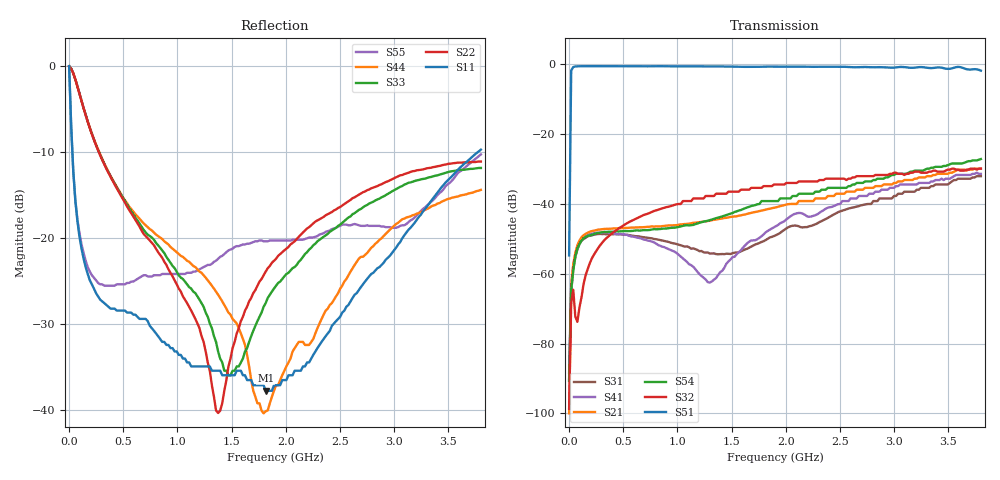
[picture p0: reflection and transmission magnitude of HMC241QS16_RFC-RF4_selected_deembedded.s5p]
!Hittite Microwave Corporation
!12 Elizabeth Drive
!Chelmsford, MA 01824
!Tel: 978-250-3343
!Fax: 978-250-3373
!Device: HMC241QS16, DC-3.5 GHz GaAs MMIC SP4T Non-Reflective Switch in 16 lead QSOP package
!Misc: Port 1 = RFC, Port 2 = RF1, Port 3 = RF2. Port 4 = RF3, Port 5 = RF 4, RF4 Selected, Bias: +5VDC, DEEMBEDDED TO THE PINS OF THE DEVICE
# MHZ S MA R 50
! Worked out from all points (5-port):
!   200 points, 10 kHz to 3.8 GHz, reference 50 ohm
!   strongest paths, dB at 10 kHz, 954.8 MHz, 1.91 GHz, 2.864 GHz, 3.8 GHz:
!     S51: -54.8, -0.6, -0.7, -0.8, -1.8
!     S32: -98.7, -40.4, -34.4, -31.7, -29.9
!     S54: -90.7, -46.8, -39.2, -32.8, -27.1
!     S21: -99.9, -46.1, -41.0, -34.9, -29.9
!     S41: -88.4, -53.4, -46.4, -36.5, -31.4
!     S31: -90.2, -51.2, -48.9, -38.4, -32.0
!   lowest |S11| = -37.7 dB at 1.814 GHz (marker M1), VSWR 1.03, Z = 49.1 - j0.959 ohm
!   |S11| at or under -10 dB: 30.2 MHz to 3.771 GHz (3.74 GHz wide, 197 % of centre)
